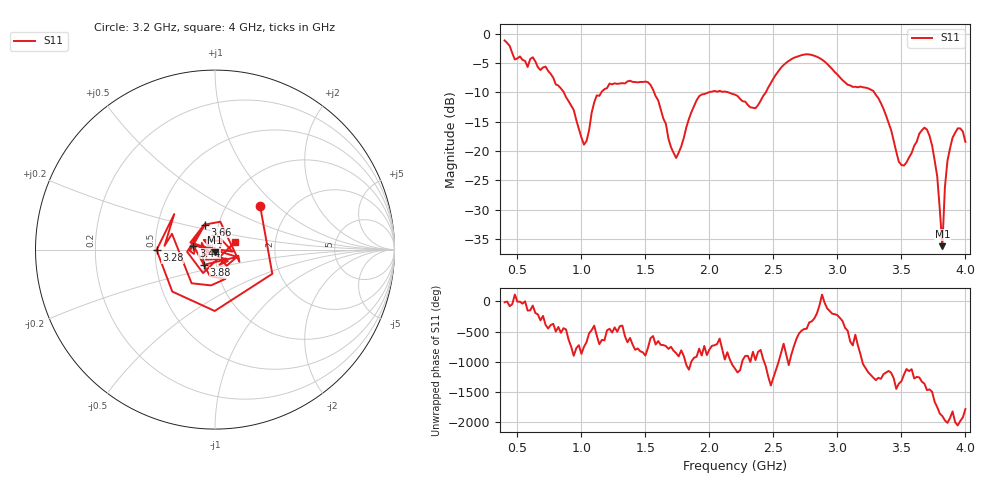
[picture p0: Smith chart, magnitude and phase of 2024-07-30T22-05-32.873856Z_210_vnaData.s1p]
!Created with skrf (http://scikit-rf.org).
# Hz S RI R 50.0
!freq ReS11 ImS11
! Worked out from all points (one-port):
!   181 points, 400 MHz to 4 GHz, reference 50 ohm
!   lowest |S11| = -36.2 dB at 3.82 GHz (marker M1), VSWR 1.03, Z = 49.9 - j1.53 ohm
!   |S11| at or under -10 dB: 1.568 GHz to 1.995 GHz (427.1 MHz wide, 24 % of centre); 2.147 GHz to 2.441 GHz (293.9 MHz wide, 12.8 % of centre); 3.287 GHz to end of sweep (the widest 3 of 4)
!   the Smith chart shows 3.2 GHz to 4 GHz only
!   S11 on the Smith chart (normalised r, x): 3.2 GHz: 1.42, +0.78; 3.28 GHz: 0.51, -0.00; 3.44 GHz: 0.79, +0.04; 3.66 GHz: 0.86, +0.25; 3.88 GHz: 0.87, -0.15; 4 GHz: 1.25, +0.11
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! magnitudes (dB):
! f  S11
! 400 MHz  -1.2
! 480 MHz  -4.4
! 860 MHz  -9.9
! 1.02 GHz  -18.9
! 1.12 GHz  -10.5
! 1.3 GHz  -8.5
! 1.54 GHz  -8.7
! 1.7 GHz  -19.4
! 1.76 GHz  -20.3
! 1.92 GHz  -10.7
! 2.2 GHz  -10.4
! 2.36 GHz  -12.7
! 2.66 GHz  -4.1
! 2.84 GHz  -3.9
! 3.1 GHz  -8.8
! 3.2 GHz  -9.1
! 3.28 GHz  -9.8
! 3.44 GHz  -18.3
! 3.5 GHz  -22.4
! 3.56 GHz  -21.1
! 3.66 GHz  -16.5
! 3.74 GHz  -19.1
! 3.78 GHz  -24.4
! 3.82 GHz  -36.2
! 3.84 GHz  -26.2
! 3.88 GHz  -19.5
! 3.94 GHz  -16.2
! 4 GHz  -18.4
